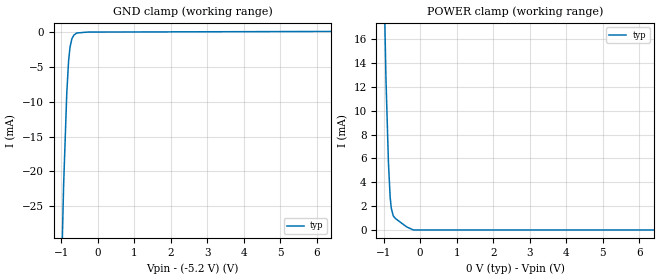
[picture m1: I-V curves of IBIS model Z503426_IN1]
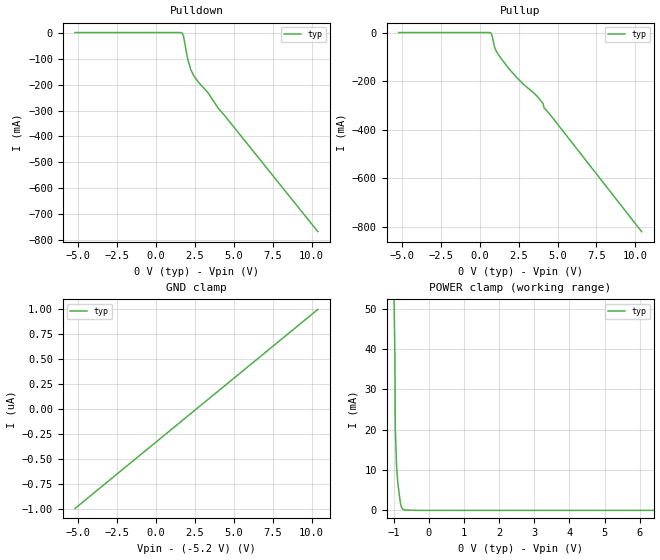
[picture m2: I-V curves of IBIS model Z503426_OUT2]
| YOU ARE ONLY AUTHORIZED TO USE THIS SOFTWARE
| ACCORDING TO LICENSOR'S LICENSE RESTRICTIONS.
[IBIS Ver] 3.1
[File Name] mc10el16d.ibs
[File Rev] 2.0
[Source] Measured and created by ICX Technology
[Date] Friday 7/14/00 9:07:50 AM
[Copyright]
| (C) COPYRIGHT 1993-2000
| MENTOR GRAPHICS CORPORATION
| ICX STANDARD LIBRARY, ICX PROJECT MODELING,
| ICX CUSTOM MODELING, ICX VENDOR MODEL
| ALL RIGHTS RESERVED.
| THE FOLLOWING ARE TRADEMARKS OR SERVICE MARKS OF
| MENTOR GRAPHICS CORPORATION:ICX (R), ICX STANDARD
| LIBRARY(R), ICX PROJECT MODELING(R), ICX CUSTOM
| MODELING(R), qualityIBIS(TM), MODELVIEWER(TM),
| AND MODELEDITOR(TM)
| ALL COPIES OF SOFTWARE, INCLUDING BUT NOT LIMITED TO
| ANY MODIFICATIONS, ENHANCEMENTS OR DERIVATIVE WORKS,
| MUST CONTAIN ALL MENTOR GRAPHICS CORPORATION'S
| NOTICES AND LEGENDS, INCLUDING THOSE EMBEDDED IN
| SOFTWARE AND THOSE AFFIXED TO SOFTWARE MEDIUM
| AND CONTAINER, AS RECEIVED FROM MENTOR GRAPHICS
| CORPORATION.
|  ZAP Model Builder 2.7
[Component] MC10EL16D
[Manufacturer] OnSemiconductor
[Package]
| variable   typ   min   max
R_pkg  .152ohms NA NA
L_pkg  2.714nH NA NA
C_pkg  .364pF NA NA
[Pin] signal_name  model_name  R_pin  L_pin C_pin
1 NC NC .154 2.924n .374p
2 D Z503426_IN1 .15 2.504n .354p
3 _D Z503426_IN1 .15 2.504n .354p
4 VBB NC .154 2.924n .374p
5 VEE POWER .154 2.924n .374p
6 _Q Z503426_OUT2 .15 2.504n .354p
7 Q Z503426_OUT2 .15 2.504n .354p
8 VCC POWER .154 2.924n .374p
| Models and submodels in the file (2): Z503426_IN1 (Input_ECL), Z503426_OUT2 (Output_ECL)
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| (C) COPYRIGHT 1993-2000
| MENTOR GRAPHICS CORPORATION
| ICX STANDARD LIBRARY, ICX PROJECT MODELING,
| ICX CUSTOM MODELING, ICX VENDOR MODEL
| ALL RIGHTS RESERVED.
| THE FOLLOWING ARE TRADEMARKS OR SERVICE MARKS OF
| MENTOR GRAPHICS CORPORATION:ICX (R), ICX STANDARD
| LIBRARY(R), ICX PROJECT MODELING(R), ICX CUSTOM
| MODELING(R), qualityIBIS(TM), MODELVIEWER(TM),
| AND MODELEDITOR(TM)
| ALL COPIES OF SOFTWARE, INCLUDING BUT NOT LIMITED TO
| ANY MODIFICATIONS, ENHANCEMENTS OR DERIVATIVE WORKS,
| MUST CONTAIN ALL MENTOR GRAPHICS CORPORATION'S
| NOTICES AND LEGENDS, INCLUDING THOSE EMBEDDED IN
| SOFTWARE AND THOSE AFFIXED TO SOFTWARE MEDIUM
| AND CONTAINER, AS RECEIVED FROM MENTOR GRAPHICS
| CORPORATION.
| Model Application Version 1.89 2/18/99.
[Model] Z503426_IN1
Model_type Input_ECL
Vinl = -1.480V
Vinh = -1.130V
C_comp 4.000pF NA NA
| variable typ   min   max
[Voltage Range] -5.200V NA NA
[GND Clamp Reference] -5.200V NA NA
[POWER Clamp Reference] 0.000V NA NA
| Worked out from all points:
|   GND clamp passes 1 mA (typ) near -0.71 V on its own axis
|   POWER clamp passes 1 mA (typ) near -0.69 V on its own axis
[GND Clamp]
-5.2V     -963.2mA   NA         NA
-931mV    -21.88mA   NA         NA
-845mV    -8.74mA    NA         NA
-796mV    -4.165mA   NA         NA
-757mV    -2.159mA   NA         NA
-706mV    -956.8uA   NA         NA
-651mV    -425.7uA   NA         NA
-576mV    -119.8uA   NA         NA
-288mV    16.49uA    NA         NA
10.4V     166.3uA    NA         NA
[POWER Clamp]
-5.2V     1.594A     NA         NA
-1.172V   58.49mA    NA         NA
-1.084V   35.83mA    NA         NA
-937.4mV  12.82mA    NA         NA
-868.1mV  5.645mA    NA         NA
-820.3mV  2.708mA    NA         NA
-789.7mV  1.823mA    NA         NA
-737.2mV  1.187mA    NA         NA
-674.1mV  951.2uA    NA         NA
-366.2mV  253.3uA    NA         NA
-183.1mV  0A         NA         NA
10.4V     0A         NA         NA
| (C) COPYRIGHT 1993-2000
| MENTOR GRAPHICS CORPORATION
| ICX STANDARD LIBRARY, ICX PROJECT MODELING,
| ICX CUSTOM MODELING, ICX VENDOR MODEL
| ALL RIGHTS RESERVED.
| THE FOLLOWING ARE TRADEMARKS OR SERVICE MARKS OF
| MENTOR GRAPHICS CORPORATION:ICX (R), ICX STANDARD
| LIBRARY(R), ICX PROJECT MODELING(R), ICX CUSTOM
| MODELING(R), qualityIBIS(TM), MODELVIEWER(TM),
| AND MODELEDITOR(TM)
| ALL COPIES OF SOFTWARE, INCLUDING BUT NOT LIMITED TO
| ANY MODIFICATIONS, ENHANCEMENTS OR DERIVATIVE WORKS,
| MUST CONTAIN ALL MENTOR GRAPHICS CORPORATION'S
| NOTICES AND LEGENDS, INCLUDING THOSE EMBEDDED IN
| SOFTWARE AND THOSE AFFIXED TO SOFTWARE MEDIUM
| AND CONTAINER, AS RECEIVED FROM MENTOR GRAPHICS
| CORPORATION.
| Model Application Version 1.89 2/18/99.
[Model] Z503426_OUT2
Model_type Output_ECL
Vref=-2.000V
Rref=50.00ohms
Cref=0.000F
Vmeas=-1.305V
C_comp 8.000pF NA NA
| variable typ   min   max
[Voltage Range] -5.200V NA NA
[POWER Clamp Reference] 0.000V NA NA
[Pullup Reference] 0.000V NA NA
[Pulldown Reference] 0.000V NA NA
[GND Clamp Reference] -5.200V NA NA
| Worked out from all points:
|   POWER clamp passes 1 mA (typ) near -0.78 V on its own axis
[GND Clamp]
-5.2V     -1uA       NA         NA
10.4V     1uA        NA         NA
[Pulldown]
-5.2V     167.1uA    NA         NA
1.568V    150.7uA    NA         NA
1.704V    -2.677mA   NA         NA
1.773V    -13.33mA   NA         NA
1.977V    -81.87mA   NA         NA
2.066V    -107mA     NA         NA
2.246V    -143.2mA   NA         NA
2.423V    -165.3mA   NA         NA
2.773V    -193.6mA   NA         NA
3.333V    -230.7mA   NA         NA
4.026V    -293.2mA   NA         NA
10.4V     -766.3mA   NA         NA
[Pullup]
-5.2V     103.7uA    NA         NA
728.4mV   -2.47mA    NA         NA
795.9mV   -12.43mA   NA         NA
947.3mV   -56.45mA   NA         NA
1.011V    -68.9mA    NA         NA
1.406V    -109.4mA   NA         NA
2.402V    -186.3mA   NA         NA
3.511V    -250.4mA   NA         NA
4.067V    -291.2mA   NA         NA
4.144V    -309.9mA   NA         NA
4.462V    -332.4mA   NA         NA
10.4V     -818.8mA   NA         NA
[POWER Clamp]
-5.2V     1.639A     NA         NA
-1.035V   82.04mA    NA         NA
-962.7mV  38.71mA    NA         NA
-950.7mV  20.44mA    NA         NA
-913mV    10.76mA    NA         NA
-878.9mV  6.829mA    NA         NA
-805.7mV  1.818mA    NA         NA
-768.8mV  650.6uA    NA         NA
-723.7mV  167.8uA    NA         NA
-323.4mV  0A         NA         NA
10.4V     0A         NA         NA
[Ramp]
| variable typ min max
dV/dt_r 533.5m/904.6p NA NA
dV/dt_f 533.5m/539.9p NA NA
R_load = 50.00Ohms
